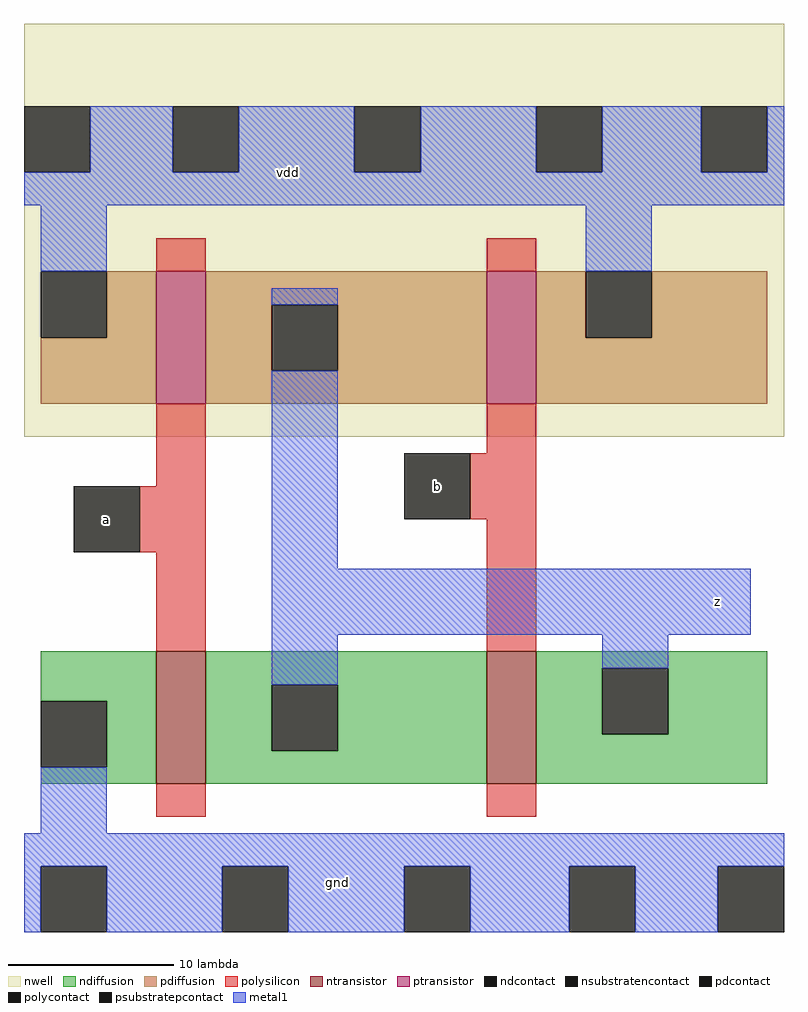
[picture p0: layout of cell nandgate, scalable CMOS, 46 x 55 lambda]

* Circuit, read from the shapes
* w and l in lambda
.subckt nandgate a b gnd vdd z
M1 z a gnd gnd nfet w=8 l=3
M2 z b z gnd nfet w=8 l=3
M3 z a vdd vdd pfet w=8 l=3
M4 vdd b z vdd pfet w=8 l=3
.ends

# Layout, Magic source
magic
tech scmos
<< nwell >>
rect 0 0 46 25
<< polysilicon >>
rect 8 10 11 12
rect 28 10 31 12
rect 8 -3 11 2
rect 28 -1 31 2
rect 7 -7 11 -3
rect 27 -5 31 -1
rect 8 -13 11 -7
rect 28 -13 31 -5
rect 8 -23 11 -21
rect 28 -23 31 -21
<< ndiffusion >>
rect 1 -16 8 -13
rect 5 -20 8 -16
rect 1 -21 8 -20
rect 11 -15 28 -13
rect 11 -19 15 -15
rect 19 -19 28 -15
rect 11 -21 28 -19
rect 31 -14 45 -13
rect 31 -18 35 -14
rect 39 -18 45 -14
rect 31 -21 45 -18
<< pdiffusion >>
rect 5 6 8 10
rect 1 2 8 6
rect 11 8 28 10
rect 11 4 15 8
rect 19 4 28 8
rect 11 2 28 4
rect 31 6 34 10
rect 38 6 45 10
rect 31 2 45 6
<< metal1 >>
rect 4 16 9 20
rect 13 16 20 20
rect 24 16 31 20
rect 35 16 41 20
rect 45 16 46 20
rect 0 14 46 16
rect 1 10 5 14
rect 34 10 38 14
rect 15 8 19 9
rect 15 -8 19 4
rect 15 -12 44 -8
rect 15 -15 19 -12
rect 35 -14 39 -12
rect 1 -24 5 -20
rect 0 -26 46 -24
rect 0 -30 1 -26
rect 5 -30 12 -26
rect 16 -30 23 -26
rect 27 -30 33 -26
rect 37 -30 42 -26
<< ntransistor >>
rect 8 -21 11 -13
rect 28 -21 31 -13
<< ptransistor >>
rect 8 2 11 10
rect 28 2 31 10
<< polycontact >>
rect 3 -7 7 -3
rect 23 -5 27 -1
<< ndcontact >>
rect 1 -20 5 -16
rect 15 -19 19 -15
rect 35 -18 39 -14
<< pdcontact >>
rect 1 6 5 10
rect 15 4 19 8
rect 34 6 38 10
<< psubstratepcontact >>
rect 1 -30 5 -26
rect 12 -30 16 -26
rect 23 -30 27 -26
rect 33 -30 37 -26
rect 42 -30 46 -26
<< nsubstratencontact >>
rect 0 16 4 20
rect 9 16 13 20
rect 20 16 24 20
rect 31 16 35 20
rect 41 16 45 20
<< labels >>
rlabel metal1 16 16 16 16 1 vdd
rlabel polycontact 5 -5 5 -5 3 a
rlabel polycontact 25 -3 25 -3 1 b
rlabel metal1 42 -10 42 -10 7 z
rlabel metal1 19 -27 19 -27 1 gnd
<< end >>
